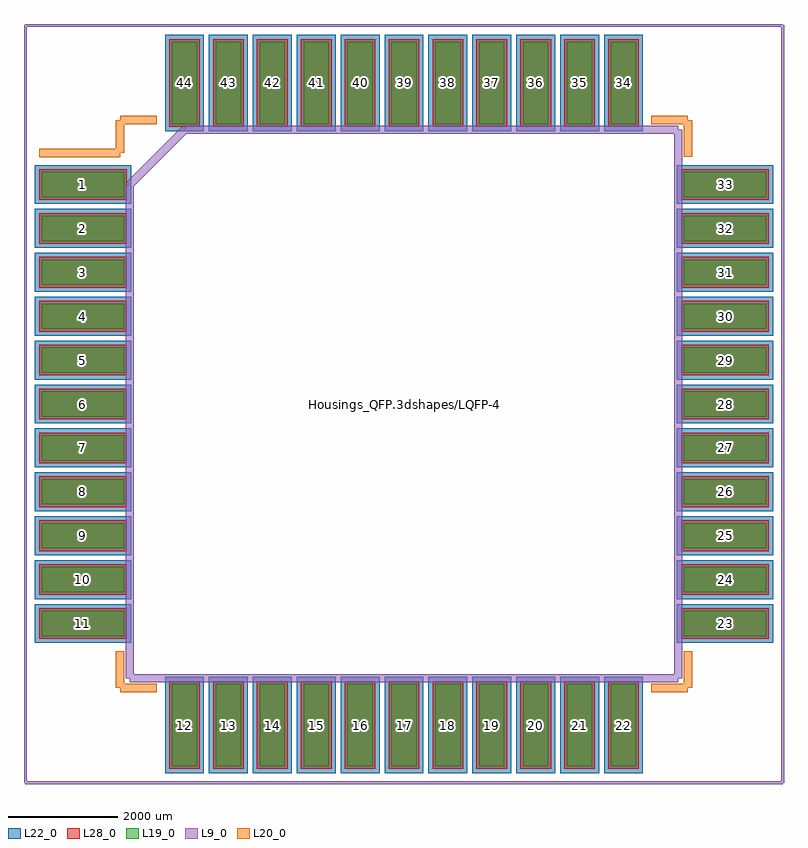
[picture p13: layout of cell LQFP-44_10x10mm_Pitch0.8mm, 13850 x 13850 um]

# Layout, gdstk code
import gdstk
lib = gdstk.Library(unit=1e-6, precision=1e-09)
def R(c, l, rs):  # rectangles x0, y0, x1, y1
    for r in rs: c.add(gdstk.rectangle(r[:2], r[2:], *l))
def A(c, l, x, y, w, h, nx, ny, dx, dy):  # array of equal rectangles
    R(c, l, [(x+i*dx, y+j*dy, x+i*dx+w, y+j*dy+h) for i in range(nx) for j in range(ny)])
L9_0 = (9, 0)
L19_0 = (19, 0)
L20_0 = (20, 0)
L22_0 = (22, 0)
L28_0 = (28, 0)

lqfp_44_10x10mm_pitch0_8 = lib.new_cell('LQFP-44_10x10mm_Pitch0.8mm')
A(lqfp_44_10x10mm_pitch0_8, L19_0, -4230, -6600, 460, 1500, 11, 2, 800, 11700)
A(lqfp_44_10x10mm_pitch0_8, L19_0, -6600, -4230, 1500, 460, 1, 11, 0, 800)
A(lqfp_44_10x10mm_pitch0_8, L19_0, 5100, -4230, 1500, 460, 1, 11, 0, 800)
A(lqfp_44_10x10mm_pitch0_8, L22_0, -4355, -6725, 710, 1750, 11, 2, 800, 11700)
A(lqfp_44_10x10mm_pitch0_8, L22_0, -6725, -4355, 1750, 710, 1, 11, 0, 800)
A(lqfp_44_10x10mm_pitch0_8, L22_0, 4975, -4355, 1750, 710, 1, 11, 0, 800)
A(lqfp_44_10x10mm_pitch0_8, L28_0, -4280, -6650, 560, 1600, 11, 2, 800, 11700)
A(lqfp_44_10x10mm_pitch0_8, L28_0, -6650, -4280, 1600, 560, 1, 11, 0, 800)
A(lqfp_44_10x10mm_pitch0_8, L28_0, 5050, -4280, 1600, 560, 1, 11, 0, 800)
lqfp_44_10x10mm_pitch0_8.add(gdstk.FlexPath([(-5175,4575),(-6650,4575)], 149.998, ends="flush", simple_path=True, layer=20, datatype=0))  # L20_0
lqfp_44_10x10mm_pitch0_8.add(gdstk.FlexPath([(5175,5175),(4505,5175)], 149.998, ends="flush", simple_path=True, layer=20, datatype=0))  # L20_0
lqfp_44_10x10mm_pitch0_8.add(gdstk.FlexPath([(5175,-5175),(4505,-5175)], 149.998, ends="flush", simple_path=True, layer=20, datatype=0))  # L20_0
lqfp_44_10x10mm_pitch0_8.add(gdstk.FlexPath([(-5175,-5175),(-4505,-5175)], 149.998, ends="flush", simple_path=True, layer=20, datatype=0))  # L20_0
lqfp_44_10x10mm_pitch0_8.add(gdstk.FlexPath([(-5175,5175),(-4505,5175)], 149.998, ends="flush", simple_path=True, layer=20, datatype=0))  # L20_0
lqfp_44_10x10mm_pitch0_8.add(gdstk.FlexPath([(-5175,-5175),(-5175,-4505)], 149.998, ends="flush", simple_path=True, layer=20, datatype=0))  # L20_0
lqfp_44_10x10mm_pitch0_8.add(gdstk.FlexPath([(5175,-5175),(5175,-4505)], 149.998, ends="flush", simple_path=True, layer=20, datatype=0))  # L20_0
lqfp_44_10x10mm_pitch0_8.add(gdstk.FlexPath([(5175,5175),(5175,4505)], 149.998, ends="flush", simple_path=True, layer=20, datatype=0))  # L20_0
lqfp_44_10x10mm_pitch0_8.add(gdstk.FlexPath([(-5175,5175),(-5175,4575)], 149.998, ends="flush", simple_path=True, layer=20, datatype=0))  # L20_0
lqfp_44_10x10mm_pitch0_8.add(gdstk.FlexPath([(-6900,-6900),(6900,-6900)], 50, ends="flush", simple_path=True, layer=9, datatype=0))  # L9_0
lqfp_44_10x10mm_pitch0_8.add(gdstk.FlexPath([(-6900,6900),(6900,6900)], 50, ends="flush", simple_path=True, layer=9, datatype=0))  # L9_0
lqfp_44_10x10mm_pitch0_8.add(gdstk.FlexPath([(6900,6900),(6900,-6900)], 50, ends="flush", simple_path=True, layer=9, datatype=0))  # L9_0
lqfp_44_10x10mm_pitch0_8.add(gdstk.FlexPath([(-6900,6900),(-6900,-6900)], 50, ends="flush", simple_path=True, layer=9, datatype=0))  # L9_0
lqfp_44_10x10mm_pitch0_8.add(gdstk.FlexPath([(-5000,4000),(-4000,5000)], 149.998, ends="flush", simple_path=True, layer=9, datatype=0))  # L9_0
lqfp_44_10x10mm_pitch0_8.add(gdstk.FlexPath([(-5000,-5000),(-5000,4000)], 149.998, ends="flush", simple_path=True, layer=9, datatype=0))  # L9_0
lqfp_44_10x10mm_pitch0_8.add(gdstk.FlexPath([(5000,-5000),(-5000,-5000)], 149.998, ends="flush", simple_path=True, layer=9, datatype=0))  # L9_0
lqfp_44_10x10mm_pitch0_8.add(gdstk.FlexPath([(5000,5000),(5000,-5000)], 149.998, ends="flush", simple_path=True, layer=9, datatype=0))  # L9_0
lqfp_44_10x10mm_pitch0_8.add(gdstk.FlexPath([(-4000,5000),(5000,5000)], 149.998, ends="flush", simple_path=True, layer=9, datatype=0))  # L9_0
lqfp_44_10x10mm_pitch0_8.add(gdstk.Label('Housings_QFP.3dshapes/LQFP-44_10x10mm_Pitch0.8mm.wrl', (0,0), layer=12, texttype=0))
lqfp_44_10x10mm_pitch0_8.add(gdstk.Label('44', (-4000,5850), layer=28, texttype=0))
lqfp_44_10x10mm_pitch0_8.add(gdstk.Label('43', (-3200,5850), layer=28, texttype=0))
lqfp_44_10x10mm_pitch0_8.add(gdstk.Label('42', (-2400,5850), layer=28, texttype=0))
lqfp_44_10x10mm_pitch0_8.add(gdstk.Label('41', (-1600,5850), layer=28, texttype=0))
lqfp_44_10x10mm_pitch0_8.add(gdstk.Label('40', (-800,5850), layer=28, texttype=0))
lqfp_44_10x10mm_pitch0_8.add(gdstk.Label('39', (0,5850), layer=28, texttype=0))
lqfp_44_10x10mm_pitch0_8.add(gdstk.Label('38', (800,5850), layer=28, texttype=0))
lqfp_44_10x10mm_pitch0_8.add(gdstk.Label('37', (1600,5850), layer=28, texttype=0))
lqfp_44_10x10mm_pitch0_8.add(gdstk.Label('36', (2400,5850), layer=28, texttype=0))
lqfp_44_10x10mm_pitch0_8.add(gdstk.Label('35', (3200,5850), layer=28, texttype=0))
lqfp_44_10x10mm_pitch0_8.add(gdstk.Label('34', (4000,5850), layer=28, texttype=0))
lqfp_44_10x10mm_pitch0_8.add(gdstk.Label('33', (5850,4000), layer=28, texttype=0))
lqfp_44_10x10mm_pitch0_8.add(gdstk.Label('32', (5850,3200), layer=28, texttype=0))
lqfp_44_10x10mm_pitch0_8.add(gdstk.Label('31', (5850,2400), layer=28, texttype=0))
lqfp_44_10x10mm_pitch0_8.add(gdstk.Label('30', (5850,1600), layer=28, texttype=0))
lqfp_44_10x10mm_pitch0_8.add(gdstk.Label('29', (5850,800), layer=28, texttype=0))
lqfp_44_10x10mm_pitch0_8.add(gdstk.Label('28', (5850,0), layer=28, texttype=0))
lqfp_44_10x10mm_pitch0_8.add(gdstk.Label('27', (5850,-800), layer=28, texttype=0))
lqfp_44_10x10mm_pitch0_8.add(gdstk.Label('26', (5850,-1600), layer=28, texttype=0))
lqfp_44_10x10mm_pitch0_8.add(gdstk.Label('25', (5850,-2400), layer=28, texttype=0))
lqfp_44_10x10mm_pitch0_8.add(gdstk.Label('24', (5850,-3200), layer=28, texttype=0))
lqfp_44_10x10mm_pitch0_8.add(gdstk.Label('23', (5850,-4000), layer=28, texttype=0))
lqfp_44_10x10mm_pitch0_8.add(gdstk.Label('22', (4000,-5850), layer=28, texttype=0))
lqfp_44_10x10mm_pitch0_8.add(gdstk.Label('21', (3200,-5850), layer=28, texttype=0))
lqfp_44_10x10mm_pitch0_8.add(gdstk.Label('20', (2400,-5850), layer=28, texttype=0))
lqfp_44_10x10mm_pitch0_8.add(gdstk.Label('19', (1600,-5850), layer=28, texttype=0))
lqfp_44_10x10mm_pitch0_8.add(gdstk.Label('18', (800,-5850), layer=28, texttype=0))
lqfp_44_10x10mm_pitch0_8.add(gdstk.Label('17', (0,-5850), layer=28, texttype=0))
lqfp_44_10x10mm_pitch0_8.add(gdstk.Label('16', (-800,-5850), layer=28, texttype=0))
lqfp_44_10x10mm_pitch0_8.add(gdstk.Label('15', (-1600,-5850), layer=28, texttype=0))
lqfp_44_10x10mm_pitch0_8.add(gdstk.Label('14', (-2400,-5850), layer=28, texttype=0))
lqfp_44_10x10mm_pitch0_8.add(gdstk.Label('13', (-3200,-5850), layer=28, texttype=0))
lqfp_44_10x10mm_pitch0_8.add(gdstk.Label('12', (-4000,-5850), layer=28, texttype=0))
lqfp_44_10x10mm_pitch0_8.add(gdstk.Label('11', (-5850,-4000), layer=28, texttype=0))
lqfp_44_10x10mm_pitch0_8.add(gdstk.Label('10', (-5850,-3200), layer=28, texttype=0))
lqfp_44_10x10mm_pitch0_8.add(gdstk.Label('9', (-5850,-2400), layer=28, texttype=0))
lqfp_44_10x10mm_pitch0_8.add(gdstk.Label('8', (-5850,-1600), layer=28, texttype=0))
lqfp_44_10x10mm_pitch0_8.add(gdstk.Label('7', (-5850,-800), layer=28, texttype=0))
lqfp_44_10x10mm_pitch0_8.add(gdstk.Label('6', (-5850,0), layer=28, texttype=0))
lqfp_44_10x10mm_pitch0_8.add(gdstk.Label('5', (-5850,800), layer=28, texttype=0))
lqfp_44_10x10mm_pitch0_8.add(gdstk.Label('4', (-5850,1600), layer=28, texttype=0))
lqfp_44_10x10mm_pitch0_8.add(gdstk.Label('3', (-5850,2400), layer=28, texttype=0))
lqfp_44_10x10mm_pitch0_8.add(gdstk.Label('2', (-5850,3200), layer=28, texttype=0))
lqfp_44_10x10mm_pitch0_8.add(gdstk.Label('1', (-5850,4000), layer=28, texttype=0))
lqfp_44_10x10mm_pitch0_8.add(gdstk.Label('%R', (0,0), layer=9, texttype=0))
lqfp_44_10x10mm_pitch0_8.add(gdstk.Label('type', (0,-7650), layer=9, texttype=0))
lqfp_44_10x10mm_pitch0_8.add(gdstk.Label('devicename', (0,7650), layer=9, texttype=0))

lib.write_gds('LQFP-44_10x10mm_Pitch0.8mm.gds')
